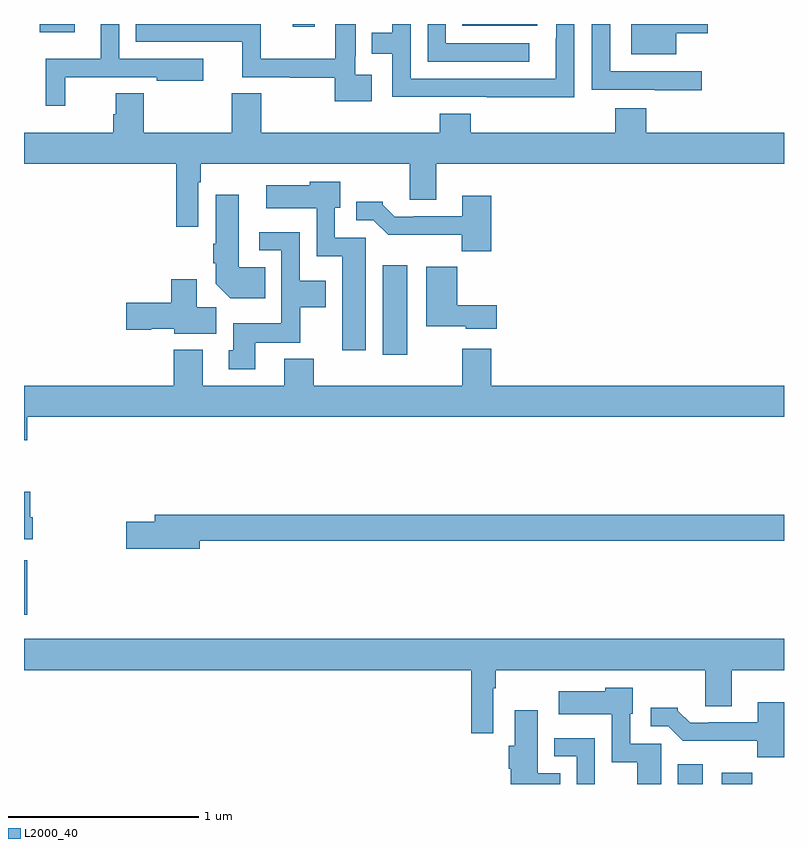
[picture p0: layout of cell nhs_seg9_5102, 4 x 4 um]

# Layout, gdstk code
import gdstk
lib = gdstk.Library(unit=1e-6, precision=1e-09)
def R(c, l, rs):  # rectangles x0, y0, x1, y1
    for r in rs: c.add(gdstk.rectangle(r[:2], r[2:], *l))
def P(c, l, *ps):  # polygons
    for p in ps: c.add(gdstk.Polygon(p, *l))
L2000_40 = (2000, 40)

nhs_seg9_5102 = lib.new_cell('nhs_seg9_5102')
R(nhs_seg9_5102, L2000_40, [(410.441,1182.5,410.572,1182.604), (410.672,1182.5,410.834,1182.559), (407,1183.392,407.018,1183.678), (408.887,1184.76,409.018,1185.229), (407.082,1186.457,407.266,1186.5), (408.414,1186.485,408.529,1186.5), (409.306,1186.49,409.702,1186.5)])
P(nhs_seg9_5102, L2000_40, [(407.216,1186.221),(407.699,1186.221),(407.699,1186.202),(407.944,1186.202),(407.944,1186.317),(407.502,1186.317),(407.502,1186.5),(407.405,1186.5),(407.405,1186.318),(407.114,1186.318),(407.114,1186.071),(407.216,1186.071)],
  [(408.829,1186.234),(408.744,1186.234),(408.744,1186.33),(408.745,1186.33),(408.745,1186.5),(408.638,1186.5),(408.638,1186.318),(408.247,1186.318),(408.247,1186.5),(407.587,1186.5),(407.587,1186.407),(408.149,1186.407),(408.149,1186.221),(408.402,1186.221),(408.402,1186.216),(408.636,1186.216),(408.636,1186.094),(408.829,1186.094)],
  [(409.896,1186.5),(409.8,1186.5),(409.8,1186.424),(409.799,1186.424),(409.799,1186.212),(409.035,1186.212),(409.035,1186.5),(408.938,1186.5),(408.938,1186.453),(408.83,1186.453),(408.83,1186.344),(408.939,1186.344),(408.939,1186.116),(409.435,1186.116),(409.435,1186.115),(409.896,1186.115)],
  [(410.566,1186.251),(410.085,1186.251),(410.085,1186.5),(409.989,1186.5),(409.989,1186.155),(410.321,1186.155),(410.321,1186.151),(410.566,1186.151)],
  [(409.66,1186.398),(409.221,1186.398),(409.221,1186.5),(409.125,1186.5),(409.125,1186.302),(409.66,1186.302)],
  [(410.434,1186.451),(410.599,1186.451),(410.599,1186.5),(410.195,1186.5),(410.195,1186.34),(410.434,1186.34)],
  [(411,1185.928),(410.276,1185.928),(410.276,1186.057),(410.111,1186.057),(410.111,1185.928),(409.352,1185.928),(409.352,1186.027),(409.187,1186.027),(409.187,1185.928),(408.249,1185.928),(408.249,1186.136),(408.094,1186.136),(408.094,1185.928),(407.631,1185.928),(407.631,1186.136),(407.483,1186.136),(407.483,1186.026),(407.471,1186.026),(407.471,1185.928),(407,1185.928),(407,1185.764),(407.8,1185.764),(407.8,1185.432),(407.916,1185.432),(407.916,1185.668),(407.929,1185.668),(407.929,1185.764),(409.031,1185.764),(409.031,1185.574),(409.171,1185.574),(409.171,1185.764),(411,1185.764)],
  [(408.799,1185.375),(408.636,1185.375),(408.636,1185.534),(408.664,1185.534),(408.664,1185.67),(408.504,1185.67),(408.504,1185.652),(408.276,1185.652),(408.276,1185.53),(408.54,1185.53),(408.54,1185.278),(408.674,1185.278),(408.674,1184.784),(408.799,1184.784)],
  [(408.269,1185.22),(408.13,1185.22),(408.13,1185.601),(408.008,1185.601),(408.008,1185.344),(407.996,1185.344),(407.996,1185.241),(408.008,1185.241),(408.008,1185.134),(408.086,1185.056),(408.269,1185.056)],
  [(409.46,1185.595),(409.307,1185.595),(409.307,1185.489),(409.051,1185.489),(409.051,1185.486),(408.952,1185.486),(408.888,1185.55),(408.888,1185.565),(408.749,1185.565),(408.749,1185.468),(408.837,1185.468),(408.916,1185.39),(409.305,1185.39),(409.305,1185.305),(409.46,1185.305)],
  [(408.217,1184.822),(408.453,1184.822),(408.453,1185.008),(408.589,1185.008),(408.589,1185.148),(408.45,1185.148),(408.45,1185.405),(408.237,1185.405),(408.237,1185.309),(408.354,1185.309),(408.354,1184.926),(408.101,1184.926),(408.101,1184.784),(408.077,1184.784),(408.077,1184.682),(408.217,1184.682)],
  [(409.489,1185.019),(409.28,1185.019),(409.28,1185.223),(409.118,1185.223),(409.118,1184.909),(409.326,1184.909),(409.326,1184.897),(409.489,1184.897)],
  [(408.013,1185.008),(407.908,1185.008),(407.908,1185.157),(407.774,1185.157),(407.774,1185.032),(407.538,1185.032),(407.538,1184.89),(407.67,1184.89),(407.67,1184.897),(407.79,1184.897),(407.79,1184.87),(408.013,1184.87)],
  [(407.018,1184.432),(411,1184.432),(411,1184.596),(409.46,1184.596),(409.46,1184.791),(409.307,1184.791),(409.307,1184.596),(408.524,1184.596),(408.524,1184.737),(408.371,1184.737),(408.371,1184.596),(407.941,1184.596),(407.941,1184.785),(407.789,1184.785),(407.789,1184.596),(407,1184.596),(407,1184.308),(407.018,1184.308)],
  [(407.046,1183.905),(407.033,1183.905),(407.033,1184.038),(407,1184.038),(407,1183.787),(407.046,1183.787)],
  [(407.926,1183.78),(411,1183.78),(411,1183.916),(407.687,1183.916),(407.687,1183.88),(407.538,1183.88),(407.538,1183.738),(407.926,1183.738)],
  [(409.47,1183.004),(409.483,1183.004),(409.483,1183.1),(410.585,1183.1),(410.585,1182.91),(410.725,1182.91),(410.725,1183.1),(411,1183.1),(411,1183.264),(407,1183.264),(407,1183.1),(409.354,1183.1),(409.354,1182.768),(409.47,1182.768)],
  [(410.353,1182.711),(410.19,1182.711),(410.19,1182.87),(410.203,1182.87),(410.203,1183.006),(410.058,1183.006),(410.058,1182.988),(409.815,1182.988),(409.815,1182.866),(410.094,1182.866),(410.094,1182.614),(410.228,1182.614),(410.228,1182.5),(410.353,1182.5)],
  [(411,1182.931),(410.861,1182.931),(410.861,1182.825),(410.605,1182.825),(410.605,1182.822),(410.506,1182.822),(410.442,1182.886),(410.442,1182.901),(410.298,1182.901),(410.298,1182.804),(410.391,1182.804),(410.467,1182.728),(410.859,1182.728),(410.859,1182.641),(411,1182.641)],
  [(409.823,1182.556),(409.705,1182.556),(409.705,1182.889),(409.583,1182.889),(409.583,1182.702),(409.55,1182.702),(409.55,1182.58),(409.562,1182.58),(409.562,1182.5),(409.823,1182.5)],
  [(410.004,1182.741),(409.791,1182.741),(409.791,1182.645),(409.908,1182.645),(409.908,1182.5),(410.004,1182.5)])

lib.write_gds('nhs_seg9_5102.gds')
